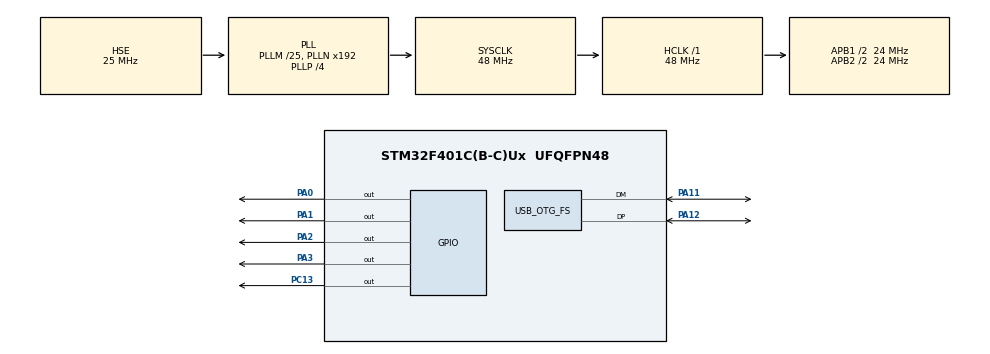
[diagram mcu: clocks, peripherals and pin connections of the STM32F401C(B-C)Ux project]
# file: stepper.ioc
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Mcu.Family=STM32F4
Mcu.Name=STM32F401C(B-C)Ux
Mcu.Package=UFQFPN48
NVIC.OTG_FS_IRQn=true\:0\:0\:false\:false\:true\:false\:true\:true
NVIC.PriorityGroup=NVIC_PRIORITYGROUP_4
PA0-WKUP.Signal=GPIO_Output
PA1.Signal=GPIO_Output
PA11.Mode=Device_Only
PA11.Signal=USB_OTG_FS_DM
PA12.Mode=Device_Only
PA12.Signal=USB_OTG_FS_DP
PA2.Signal=GPIO_Output
PA3.Signal=GPIO_Output
PC13-ANTI_TAMP.Signal=GPIO_Output
PC14-OSC32_IN.Mode=LSE-External-Oscillator
PC14-OSC32_IN.Signal=RCC_OSC32_IN
PC15-OSC32_OUT.Mode=LSE-External-Oscillator
PC15-OSC32_OUT.Signal=RCC_OSC32_OUT
PH0\ -\ OSC_IN.Mode=HSE-External-Oscillator
PH0\ -\ OSC_IN.Signal=RCC_OSC_IN
PH1\ -\ OSC_OUT.Mode=HSE-External-Oscillator
PH1\ -\ OSC_OUT.Signal=RCC_OSC_OUT
ProjectManager.HeapSize=0x200
ProjectManager.StackSize=0x400
ProjectManager.TargetToolchain=STM32CubeIDE
RCC.48MHZClocksFreq_Value=48000000
RCC.AHBFreq_Value=48000000
RCC.APB1CLKDivider=RCC_HCLK_DIV2
RCC.APB1Freq_Value=24000000
RCC.APB1TimFreq_Value=48000000
RCC.APB2CLKDivider=RCC_HCLK_DIV2
RCC.APB2Freq_Value=24000000
RCC.APB2TimFreq_Value=48000000
RCC.CortexFreq_Value=48000000
RCC.HCLKFreq_Value=48000000
RCC.HSE_VALUE=25000000
RCC.HSI_VALUE=16000000
RCC.PLLM=25
RCC.PLLP=RCC_PLLP_DIV4
RCC.SYSCLKFreq_VALUE=48000000
RCC.SYSCLKSource=RCC_SYSCLKSOURCE_PLLCLK
RCC.VCOOutputFreq_Value=192000000
USB_DEVICE.CLASS_NAME_FS=CDC
USB_DEVICE.VirtualMode=Cdc
USB_DEVICE.VirtualModeFS=Cdc_FS
USB_OTG_FS.VirtualMode=Device_Only
VP_USB_DEVICE_VS_USB_DEVICE_CDC_FS.Mode=CDC_FS
board=custom

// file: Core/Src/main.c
/* USER CODE BEGIN Header */
/**
  ******************************************************************************
  * @file           : main.c
  * @brief          : Main program body
  ******************************************************************************
  * @attention
  *
  *Controlling stepper motor by L239D driver and "Black pill", full step, half step.
  *Builded for testing stepper motors.
  *For communication used USB CDC and type C port of "black pill"
  *Need to change  function in file below
  *----------------usbd_cdc_if.c--------------
  **static int8_t CDC_Receive_FS(uint8_t* Buf, uint32_t *Len)
	{
    USBD_CDC_SetRxBuffer(&hUsbDeviceFS, &Buf[0]);
    USBD_CDC_ReceivePacket(&hUsbDeviceFS);
    memset (buffer, '\0', 64);  // clear the buffer
    uint8_t len = (uint8_t)*Len;
    memcpy(buffer, Buf, len);  // copy the data to the buffer
    memset(Buf, '\0', len);   // clear the Buf also
    return (USBD_OK);}

    Used lesson from https://controllerstech.com/send-and-receive-data-to-pc-without-uart-stm32-usb-com/
  ******************************************************************************
  */
/* USER CODE END Header */
#include "main.h"
#include "usb_device.h"
#include <stdio.h>

/* USER CODE BEGIN PV */
uint8_t buffer[64]; //receive buffer from USB CDC
int choise;         //way to make choise of test program (speed of rotation)
int stepdelay;      //delay between steps - test
int8_t thisStep = 0;
char buff[16];      //transmittion buffer
/* USER CODE END PV */

void SystemClock_Config(void);
static void MX_GPIO_Init(void);
/* USER CODE BEGIN PFP */
void stepper_half_drive();
void stepper_full_drive(int step, int stepdelay);
void stepper_hold(void);
extern uint8_t CDC_Transmit_FS(uint8_t* Buf, uint16_t Len);
/* USER CODE END PFP */

int main(void)
{

  /* MCU Configuration--------------------------------------------------------*/

  /* Reset of all peripherals, Initializes the Flash interface and the Systick. */
  HAL_Init();

  /* Configure the system clock */
  SystemClock_Config();

  /* Initialize all configured peripherals */
  MX_GPIO_Init();
  MX_USB_DEVICE_Init();
  /* USER CODE BEGIN 2 */
  CDC_Transmit_FS((uint8_t*)"Configured",15);

  /* USER CODE END 2 */

  /* Infinite loop */
  /* USER CODE BEGIN WHILE */
  while (1)
  {

	  //HAL_Delay(200); //delay 100ms

	  if (buffer[strlen(buffer)-2] == '/') { snprintf(buff, sizeof(buff), "%d\r\n\0",strlen(buffer)); // return number of characters in recived buffer
		  	  	  	  	  	  CDC_Transmit_FS(buff, sizeof(buff));   //receiving four bytes with ending character
	  	  	  	  	  	  	  	  	  	 HAL_Delay(1000);}

	  //snprintf(buff, sizeof(buff), "%.1f, %d\r\n\0",degree, TIM4->CNT); //output example of float and int number

	 /* uint32_t num = 0;
	  for(int i=0; i<4; i++)
	  {
	      num <<= 8;
	      num |= outstr[i];
	  }*/
	  //memset (buffer, '\0', 64);

      if (buffer[0] == '1') {choise=1;}
      if (buffer[0] == '2') {choise=2;}
      if (buffer[0] == '3') {choise=3;}
      if (buffer[0] == '4') {choise=4;}
      if (buffer[0] == '9') {choise=9;}

      switch (choise){
	  	  	  case 1:
	  	      stepdelay=10;
	  	      CDC_Transmit_FS((uint8_t*)"Speed test 8\n\r",16);
	  	  		 for(int k=0; k<100; k++) {

	  	  				  /*for (int step=0; step<4; step++)
	  	  								{
	  	  									stepper_half_drive(step);
	  	  					  	  	  	  	//stepper_full_drive(step,stepdelay);

	  	  								}*/
	  	  			  HAL_GPIO_TogglePin(GPIOC, GPIO_PIN_13); //Toggle the state of pin PC9
	  	  			  stepper_half_drive();
	  	  			  thisStep ++;
	  	  			  HAL_Delay(5000);

	  	  			  }

	  	  	      CDC_Transmit_FS((uint8_t*)"Ready case 1\n\r",16);
	  	  	      memset (buffer, '\0', 64);
	  	  	      //thisStep=0;
	  	  	      choise=0;
				  break;

			  case 2:
			  stepdelay=20;
			  CDC_Transmit_FS((uint8_t*)"Speed test 16\n\r",17);
				 for(int k=0; k<50; k++) {

						  for (int step=0; step<4; step++)
										{
											//stepper_half_drive(step);
											stepper_full_drive(step,stepdelay);

										}
					  }

				  CDC_Transmit_FS((uint8_t*)"Ready case 2\n\r",16);
				  memset (buffer, '\0', 64);
				  choise=0;
				  break;

				  case 3:
				  stepdelay=31;
				  CDC_Transmit_FS((uint8_t*)"Speed test 25\n\r",17);
					 for(int k=0; k<50; k++) {

							  for (int step=0; step<4; step++)
											{
												//stepper_half_drive(step);
												stepper_full_drive(step,stepdelay);

											}
						  }

					  CDC_Transmit_FS((uint8_t*)"Ready case 3\n\r",16);
					  memset (buffer, '\0', 64);
					  choise=0;
					  break;

					  case 4:
					  stepdelay=41;
					  CDC_Transmit_FS((uint8_t*)"Speed test 33\n\r",17);
						 for(int k=0; k<50; k++) {

								  for (int step=0; step<4; step++)
												{
													//stepper_half_drive(step);
													stepper_full_drive(step,stepdelay);

												}
							  }

						  CDC_Transmit_FS((uint8_t*)"Ready case 4\n\r",16);
						  memset (buffer, '\0', 64);
						  choise=0;
						  break;

					  case 9:

					  					  CDC_Transmit_FS((uint8_t*)"HOLDING\n\r",11);
					  						//stepper_hold();

					  					 HAL_GPIO_WritePin(GPIOA, GPIO_PIN_0, 0);   // IN1
										  HAL_GPIO_WritePin(GPIOA, GPIO_PIN_1, 0);   // IN2
										  HAL_GPIO_WritePin(GPIOA, GPIO_PIN_2, 0);   // IN3
										  HAL_GPIO_WritePin(GPIOA, GPIO_PIN_3, 0);

					  						HAL_Delay(2000);
					  						  CDC_Transmit_FS((uint8_t*)"FREE\n\r",8);
					  						  memset (buffer, '\0', 64);
					  						  choise=0;
					  						  break;

      }

	  	 //HAL_Delay(3000);

	  	//  stepper_hold();
	  //	HAL_Delay(3000);

    /* USER CODE END WHILE */

  }
}

void SystemClock_Config(void)
{
  RCC_OscInitTypeDef RCC_OscInitStruct = {0};
  RCC_ClkInitTypeDef RCC_ClkInitStruct = {0};

  /** Configure the main internal regulator output voltage
  */
  __HAL_RCC_PWR_CLK_ENABLE();
  __HAL_PWR_VOLTAGESCALING_CONFIG(PWR_REGULATOR_VOLTAGE_SCALE2);

  /** Initializes the RCC Oscillators according to the specified parameters
  * in the RCC_OscInitTypeDef structure.
  */
  RCC_OscInitStruct.OscillatorType = RCC_OSCILLATORTYPE_HSE;
  RCC_OscInitStruct.HSEState = RCC_HSE_ON;
  RCC_OscInitStruct.PLL.PLLState = RCC_PLL_ON;
  RCC_OscInitStruct.PLL.PLLSource = RCC_PLLSOURCE_HSE;
  RCC_OscInitStruct.PLL.PLLM = 25;
  RCC_OscInitStruct.PLL.PLLN = 192;
  RCC_OscInitStruct.PLL.PLLP = RCC_PLLP_DIV4;
  RCC_OscInitStruct.PLL.PLLQ = 4;
  if (HAL_RCC_OscConfig(&RCC_OscInitStruct) != HAL_OK)
  {
    Error_Handler();
  }

  /** Initializes the CPU, AHB and APB buses clocks
  */
  RCC_ClkInitStruct.ClockType = RCC_CLOCKTYPE_HCLK|RCC_CLOCKTYPE_SYSCLK
                              |RCC_CLOCKTYPE_PCLK1|RCC_CLOCKTYPE_PCLK2;
  RCC_ClkInitStruct.SYSCLKSource = RCC_SYSCLKSOURCE_PLLCLK;
  RCC_ClkInitStruct.AHBCLKDivider = RCC_SYSCLK_DIV1;
  RCC_ClkInitStruct.APB1CLKDivider = RCC_HCLK_DIV2;
  RCC_ClkInitStruct.APB2CLKDivider = RCC_HCLK_DIV2;

  if (HAL_RCC_ClockConfig(&RCC_ClkInitStruct, FLASH_LATENCY_1) != HAL_OK)
  {
    Error_Handler();
  }
}

static void MX_GPIO_Init(void)
{
  GPIO_InitTypeDef GPIO_InitStruct = {0};

  /* GPIO Ports Clock Enable */
  __HAL_RCC_GPIOC_CLK_ENABLE();
  __HAL_RCC_GPIOH_CLK_ENABLE();
  __HAL_RCC_GPIOA_CLK_ENABLE();

  /*Configure GPIO pin Output Level */
  HAL_GPIO_WritePin(GPIOC, GPIO_PIN_13, GPIO_PIN_RESET);

  /*Configure GPIO pin Output Level */
  HAL_GPIO_WritePin(GPIOA, GPIO_PIN_0|GPIO_PIN_1|GPIO_PIN_2|GPIO_PIN_3, GPIO_PIN_RESET);

  /*Configure GPIO pin : PC13 */
  GPIO_InitStruct.Pin = GPIO_PIN_13;
  GPIO_InitStruct.Mode = GPIO_MODE_OUTPUT_PP;
  GPIO_InitStruct.Pull = GPIO_NOPULL;
  GPIO_InitStruct.Speed = GPIO_SPEED_FREQ_LOW;
  HAL_GPIO_Init(GPIOC, &GPIO_InitStruct);

  /*Configure GPIO pins : PA0 PA1 PA2 PA3 */
  GPIO_InitStruct.Pin = GPIO_PIN_0|GPIO_PIN_1|GPIO_PIN_2|GPIO_PIN_3;
  GPIO_InitStruct.Mode = GPIO_MODE_OUTPUT_PP;
  GPIO_InitStruct.Pull = GPIO_NOPULL;
  GPIO_InitStruct.Speed = GPIO_SPEED_FREQ_LOW;
  HAL_GPIO_Init(GPIOA, &GPIO_InitStruct);

}

/* USER CODE BEGIN 4 */

void stepper_half_drive ()
{
	switch (thisStep & 0b111){
	case 0:
				  HAL_GPIO_WritePin(GPIOA, GPIO_PIN_0, 1);   // IN1
				  HAL_GPIO_WritePin(GPIOA, GPIO_PIN_1, 0);   // IN2
				  HAL_GPIO_WritePin(GPIOA, GPIO_PIN_2, 0);   // IN3
				  HAL_GPIO_WritePin(GPIOA, GPIO_PIN_3, 0);   // IN4
				  break;

			case 1:
				  HAL_GPIO_WritePin(GPIOA, GPIO_PIN_0, 1);   // IN1
				  HAL_GPIO_WritePin(GPIOA, GPIO_PIN_1, 0);   // IN2
				  HAL_GPIO_WritePin(GPIOA, GPIO_PIN_2, 1);   // IN3
				  HAL_GPIO_WritePin(GPIOA, GPIO_PIN_3, 0);   // IN4
				  break;

			case 2:
				  HAL_GPIO_WritePin(GPIOA, GPIO_PIN_0, 0);   // IN1
				  HAL_GPIO_WritePin(GPIOA, GPIO_PIN_1, 0);   // IN2
				  HAL_GPIO_WritePin(GPIOA, GPIO_PIN_2, 1);   // IN3
				  HAL_GPIO_WritePin(GPIOA, GPIO_PIN_3, 0);   // IN4
				  break;

			case 3:
				  HAL_GPIO_WritePin(GPIOA, GPIO_PIN_0, 0);   // IN1
				  HAL_GPIO_WritePin(GPIOA, GPIO_PIN_1, 1);   // IN2
				  HAL_GPIO_WritePin(GPIOA, GPIO_PIN_2, 1);   // IN3
				  HAL_GPIO_WritePin(GPIOA, GPIO_PIN_3, 0);   // IN4
				  break;

			case 4:
				  HAL_GPIO_WritePin(GPIOA, GPIO_PIN_0, 0);   // IN1
				  HAL_GPIO_WritePin(GPIOA, GPIO_PIN_1, 1);   // IN2
				  HAL_GPIO_WritePin(GPIOA, GPIO_PIN_2, 0);   // IN3
				  HAL_GPIO_WritePin(GPIOA, GPIO_PIN_3, 0);   // IN4
				  break;
			case 5:
				  HAL_GPIO_WritePin(GPIOA, GPIO_PIN_0, 0);   // IN1
				  HAL_GPIO_WritePin(GPIOA, GPIO_PIN_1, 1);   // IN2
				  HAL_GPIO_WritePin(GPIOA, GPIO_PIN_2, 0);   // IN3
				  HAL_GPIO_WritePin(GPIOA, GPIO_PIN_3, 1);   // IN4
				  break;
			case 6:
				  HAL_GPIO_WritePin(GPIOA, GPIO_PIN_0, 0);   // IN1
				  HAL_GPIO_WritePin(GPIOA, GPIO_PIN_1, 0);   // IN2
				  HAL_GPIO_WritePin(GPIOA, GPIO_PIN_2, 0);   // IN3
				  HAL_GPIO_WritePin(GPIOA, GPIO_PIN_3, 1);   // IN4
				  break;
			case 7:
				  HAL_GPIO_WritePin(GPIOA, GPIO_PIN_0, 1);   // IN1
				  HAL_GPIO_WritePin(GPIOA, GPIO_PIN_1, 0);   // IN2
				  HAL_GPIO_WritePin(GPIOA, GPIO_PIN_2, 0);   // IN3
				  HAL_GPIO_WritePin(GPIOA, GPIO_PIN_3, 1);   // IN4
				  break;
	}
}

void stepper_full_drive (int step, int stepdelay)
{
	switch (step){
				case 0:
				  HAL_GPIO_WritePin(GPIOA, GPIO_PIN_0, 1);
				  HAL_Delay(stepdelay);// IN1
				  HAL_GPIO_WritePin(GPIOA, GPIO_PIN_1, 0);
				  HAL_Delay(stepdelay);// IN2
				  HAL_GPIO_WritePin(GPIOA, GPIO_PIN_2, 1);
				  HAL_Delay(stepdelay);// IN3
				  HAL_GPIO_WritePin(GPIOA, GPIO_PIN_3, 0);
				  HAL_Delay(stepdelay);// IN4
				  break;

			case 1:
				  HAL_GPIO_WritePin(GPIOA, GPIO_PIN_0, 0);
				  HAL_Delay(stepdelay);// IN1
				  HAL_GPIO_WritePin(GPIOA, GPIO_PIN_1, 1);
				  HAL_Delay(stepdelay);// IN2
				  HAL_GPIO_WritePin(GPIOA, GPIO_PIN_2, 1);
				  HAL_Delay(stepdelay);// IN3
				  HAL_GPIO_WritePin(GPIOA, GPIO_PIN_3, 0);
				  HAL_Delay(stepdelay);// IN4
				  break;

			case 2:
				  HAL_GPIO_WritePin(GPIOA, GPIO_PIN_0, 0);
				  HAL_Delay(stepdelay);// IN1
				  HAL_GPIO_WritePin(GPIOA, GPIO_PIN_1, 1);
				  HAL_Delay(stepdelay);// IN2
				  HAL_GPIO_WritePin(GPIOA, GPIO_PIN_2, 0);
				  HAL_Delay(stepdelay);// IN3
				  HAL_GPIO_WritePin(GPIOA, GPIO_PIN_3, 1);
				  HAL_Delay(stepdelay);// IN4
				  break;

			case 3:
				  HAL_GPIO_WritePin(GPIOA, GPIO_PIN_0, 1);
				  HAL_Delay(stepdelay);// IN1
				  HAL_GPIO_WritePin(GPIOA, GPIO_PIN_1, 0);
				  HAL_Delay(stepdelay);// IN2
				  HAL_GPIO_WritePin(GPIOA, GPIO_PIN_2, 0);
				  HAL_Delay(stepdelay);// IN3
				  HAL_GPIO_WritePin(GPIOA, GPIO_PIN_3, 1);
				  HAL_Delay(stepdelay);// IN4
				  break;
	}
}

void stepper_hold(void){
	  HAL_GPIO_WritePin(GPIOA, GPIO_PIN_0, 1);   // IN1
	  HAL_GPIO_WritePin(GPIOA, GPIO_PIN_1, 0);   // IN2
	  HAL_GPIO_WritePin(GPIOA, GPIO_PIN_2, 0);   // IN3
	  HAL_GPIO_WritePin(GPIOA, GPIO_PIN_3, 1);   // IN4
}

/* USER CODE END 4 */

void Error_Handler(void)
{
  __disable_irq();
  while (1)
  {
  }
}
